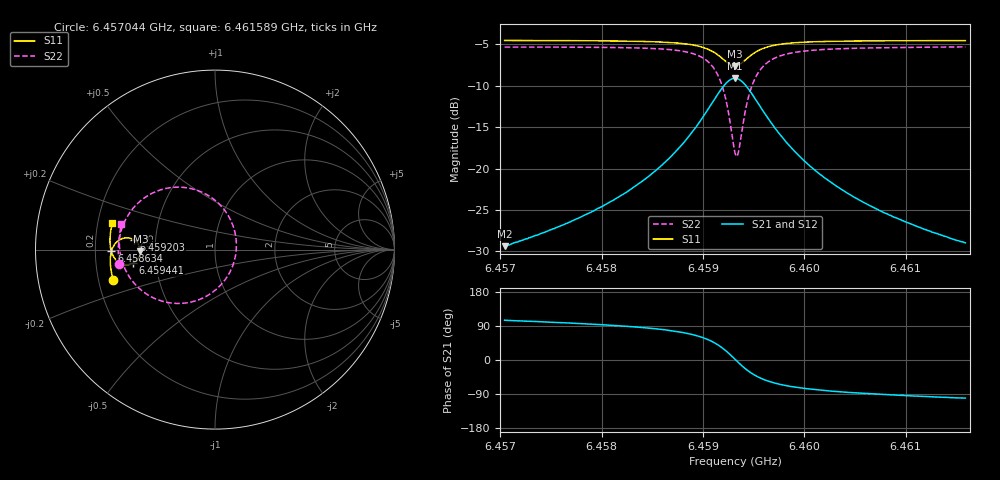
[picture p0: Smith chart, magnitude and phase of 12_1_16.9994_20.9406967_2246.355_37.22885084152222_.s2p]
#  HZ  S  RI  R  50.00
! Rohde & Schwarz Vector Network Analyzer
! Rohde-Schwarz,ZNB20-2Port,1311601062101988,3.16
! Created: UTC 3/20/2024, 10:52:37 PM
! freq[Hz]  re:S11  im:S11  re:S21  im:S21  re:S12  im:S12  re:S22  im:S22
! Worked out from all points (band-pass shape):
!   401 points, 6.457044 GHz to 6.461589 GHz, reference 50 ohm
!   highest |S21| = -9.12 dB at 6.459316 GHz (marker M1); lowest = -29.4 dB at 6.457044 GHz (marker M2)
!   |S21| within 3 dB of the highest: 6.459089 GHz to 6.459543 GHz (454.1 kHz wide, 0.00703 % of centre)
!   lowest |S11| = -7.6 dB at 6.459316 GHz (marker M3), VSWR 2.42, Z = 20.7 - j0.479 ohm
!   |S11| at or under -10 dB: nowhere
!   |S22| runs from -18.5 to -5.3 dB; largest |S21 - S12| = 0.013
!   S11 on the Smith chart (normalised r, x): 6.457044 GHz: 0.26, -0.14; 6.458634 GHz: 0.27, -0.01; 6.459203 GHz: 0.38, +0.05; 6.459441 GHz: 0.37, -0.07; 6.461589 GHz: 0.26, +0.12
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6.4570435e9  -0.5673 -0.1685  -0.00881 0.0329  -0.00701 0.033  -0.5343 -0.0784
6.4578049e9  -0.5809 -0.1017  -0.00535 0.051  -0.00273 0.0504  -0.5386 0.0116
6.4582367e9  -0.5836 -0.0581  0.00113 0.0715  0.00439 0.07  -0.5292 0.081
6.4585662e9  -0.5794 -0.0182  0.015 0.0999  0.0189 0.097  -0.5033 0.1569
6.4586344e9  -0.5771 -0.00871  0.0205 0.1083  0.0245 0.1051  -0.493 0.1768
6.4588276e9  -0.5642 0.0217  0.0475 0.1394  0.0516 0.1346  -0.4421 0.246
6.4589753e9  -0.5411 0.048  0.0935 0.1701  0.0967 0.1634  -0.3572 0.3104
6.4591117e9  -0.4966 0.0654  0.1819 0.1865  0.1827 0.1791  -0.1958 0.3479
6.4592026e9  -0.4514 0.0547  0.2729 0.1541  0.273 0.1486  -0.0277 0.2953
6.4592708e9  -0.422 0.0219  0.3337 0.0808  0.336 0.0758  0.088 0.163
6.4593162e9  -0.4152 -0.0096  0.3498 0.0119  0.3536 0.00513  0.1193 0.0341
6.4593276e9  -0.4156 -0.0178  0.3494 -0.00609  0.3534 -0.0135  0.1185 -2.03e-05
6.4593503e9  -0.4193 -0.0336  0.3435 -0.0411  0.3475 -0.0502  0.1065 -0.0665
6.4593958e9  -0.4352 -0.0601  0.3141 -0.1016  0.3166 -0.1135  0.047 -0.1803
6.4594412e9  -0.4576 -0.0767  0.2712 -0.1428  0.2706 -0.1559  -0.0399 -0.2551
6.4595321e9  -0.5016 -0.0837  0.1853 -0.1737  0.1791 -0.1852  -0.211 -0.3001
6.4596798e9  -0.5459 -0.0629  0.0966 -0.1591  0.0879 -0.1651  -0.3798 -0.2486
6.4598389e9  -0.5678 -0.0353  0.0514 -0.1306  0.0437 -0.1332  -0.4604 -0.1754
6.4600776e9  -0.5805 0.000279  0.0221 -0.0984  0.0162 -0.0989  -0.508 -0.092
6.4604185e9  -0.5854 0.0411  0.00614 -0.0712  0.00199 -0.0707  -0.5291 -0.0125
6.4608389e9  -0.5834 0.0835  -0.00166 -0.0523  -0.00452 -0.0516  -0.5331 0.0557
6.4615889e9  -0.5714 0.1502  -0.00651 -0.035  -0.00833 -0.034  -0.5214 0.145
